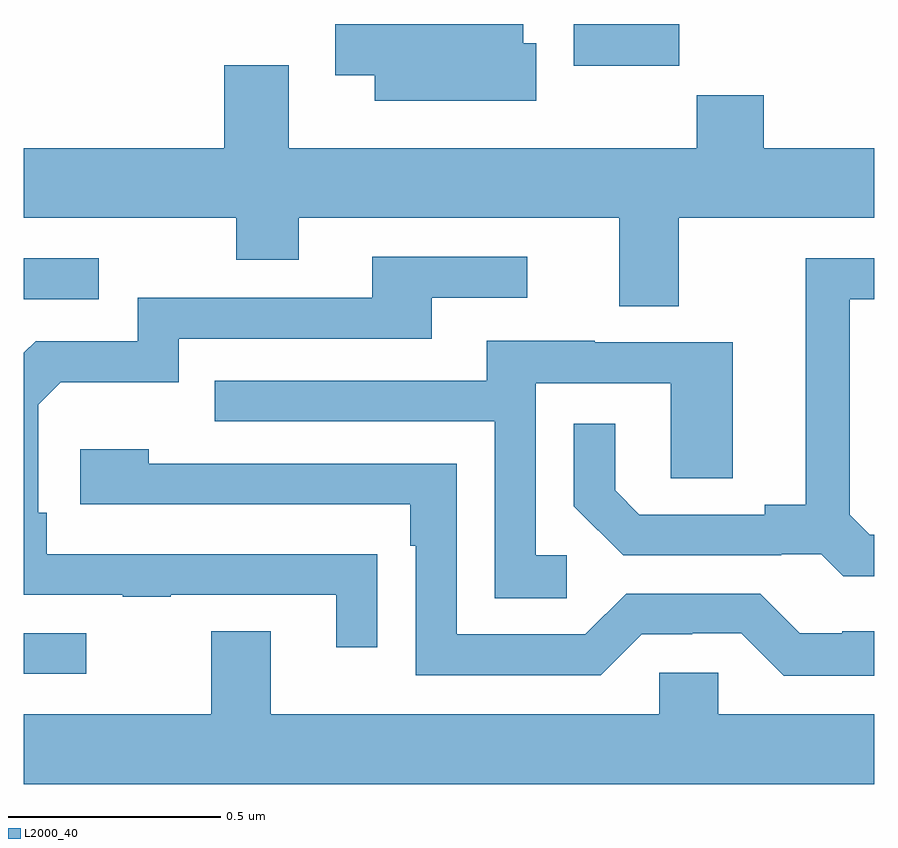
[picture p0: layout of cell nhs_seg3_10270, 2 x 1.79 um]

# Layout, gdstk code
import gdstk
lib = gdstk.Library(unit=1e-6, precision=1e-09)
def R(c, l, rs):  # rectangles x0, y0, x1, y1
    for r in rs: c.add(gdstk.rectangle(r[:2], r[2:], *l))
def P(c, l, *ps):  # polygons
    for p in ps: c.add(gdstk.Polygon(p, *l))
L2000_40 = (2000, 40)

nhs_seg3_10270 = lib.new_cell('nhs_seg3_10270')
R(nhs_seg3_10270, L2000_40, [(239,671.871,239.146,671.967), (239,672.753,239.176,672.849), (240.293,673.302,240.542,673.4)])
P(nhs_seg3_10270, L2000_40, [(240.205,673.355),(240.175,673.355),(240.175,673.4),(239.732,673.4),(239.732,673.28),(239.825,673.28),(239.825,673.22),(240.205,673.22)],
  [(240.541,672.944),(241,672.944),(241,673.108),(240.74,673.108),(240.74,673.232),(240.583,673.232),(240.583,673.108),(239.623,673.108),(239.623,673.303),(239.471,673.303),(239.471,673.108),(239,673.108),(239,672.944),(239.5,672.944),(239.5,672.845),(239.647,672.845),(239.647,672.944),(240.401,672.944),(240.401,672.736),(240.541,672.736)],
  [(239.831,672.152),(239.729,672.152),(239.729,672.153),(239.054,672.153),(239.054,672.25),(239.034,672.25),(239.034,672.504),(239.087,672.557),(239.364,672.557),(239.364,672.66),(239.959,672.66),(239.959,672.756),(240.184,672.756),(240.184,672.852),(239.819,672.852),(239.819,672.756),(239.268,672.756),(239.268,672.654),(239.028,672.654),(239,672.626),(239,672.057),(239.233,672.057),(239.233,672.052),(239.345,672.052),(239.345,672.057),(239.735,672.057),(239.735,671.934),(239.831,671.934)],
  [(241,672.198),(240.99,672.198),(240.943,672.245),(240.943,672.753),(241,672.753),(241,672.849),(240.839,672.849),(240.839,672.269),(240.743,672.269),(240.743,672.246),(240.448,672.246),(240.391,672.303),(240.391,672.46),(240.294,672.46),(240.294,672.266),(240.41,672.15),(240.782,672.15),(240.782,672.153),(240.876,672.153),(240.928,672.101),(241,672.101)],
  [(240.277,672.15),(240.204,672.15),(240.204,672.555),(240.522,672.555),(240.522,672.331),(240.667,672.331),(240.667,672.651),(240.343,672.651),(240.343,672.655),(240.089,672.655),(240.089,672.561),(239.449,672.561),(239.449,672.465),(240.108,672.465),(240.108,672.049),(240.277,672.049)],
  [(241,671.971),(240.925,671.971),(240.925,671.967),(240.825,671.967),(240.732,672.06),(240.417,672.06),(240.321,671.964),(240.018,671.964),(240.018,672.366),(239.294,672.366),(239.294,672.4),(239.133,672.4),(239.133,672.27),(239.909,672.27),(239.909,672.173),(239.922,672.173),(239.922,671.868),(240.357,671.868),(240.453,671.964),(240.572,671.964),(240.572,671.967),(240.687,671.967),(240.787,671.867),(241,671.867)],
  [(241,671.776),(240.633,671.776),(240.633,671.874),(240.495,671.874),(240.495,671.776),(239.581,671.776),(239.581,671.971),(239.441,671.971),(239.441,671.776),(239,671.776),(239,671.612),(241,671.612)])

lib.write_gds('nhs_seg3_10270.gds')
